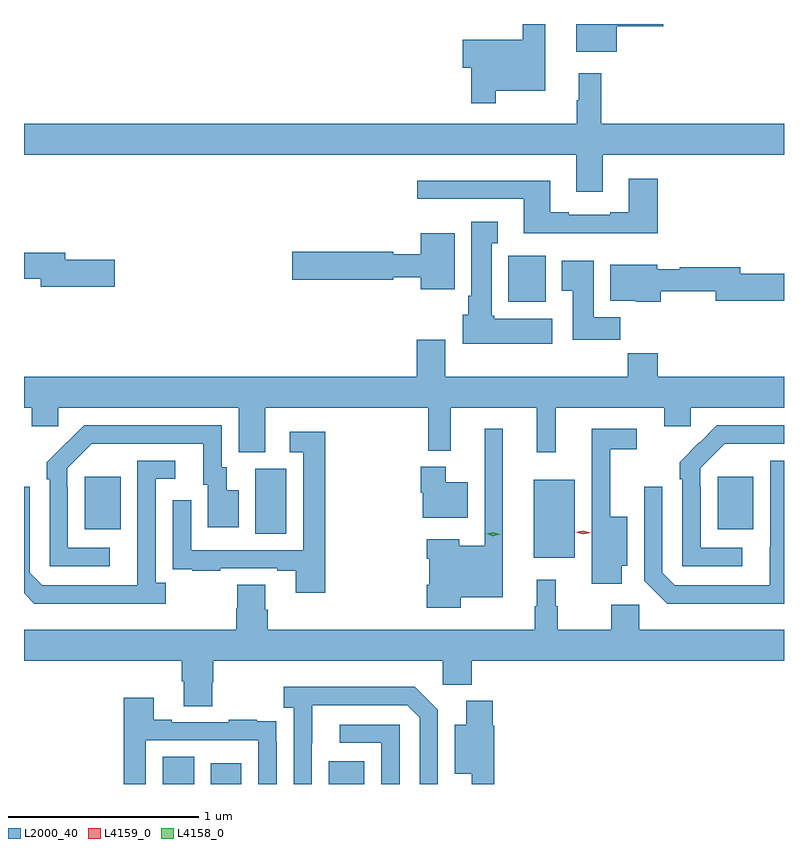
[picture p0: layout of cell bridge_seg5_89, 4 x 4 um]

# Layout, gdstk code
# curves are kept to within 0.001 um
import gdstk
lib = gdstk.Library(unit=1e-6, precision=1e-09)
def R(c, l, rs):  # rectangles x0, y0, x1, y1
    for r in rs: c.add(gdstk.rectangle(r[:2], r[2:], *l))
def P(c, l, *ps):  # polygons
    for p in ps: c.add(gdstk.Polygon(p, *l))
L2000_40 = (2000, 40)
L4158_0 = (4158, 0)
L4159_0 = (4159, 0)

bridge_seg5_89 = lib.new_cell('bridge_seg5_89')
R(bridge_seg5_89, L2000_40, [(316.28,849.452,316.444,849.596), (316.532,849.452,316.693,849.562), (317.153,849.452,317.341,849.571), (318.233,850.643,318.448,851.053), (316.766,850.768,316.93,851.112), (315.869,850.793,316.057,851.068), (319.199,850.793,319.387,851.068), (318.098,851.99,318.295,852.232)])
P(bridge_seg5_89, L2000_40, [(318.031,853.1),(318.292,853.1),(318.292,853.452),(318.175,853.452),(318.175,853.369),(317.858,853.369),(317.858,853.222),(317.902,853.222),(317.902,853.035),(318.031,853.035)],
  [(318.67,853.439),(318.913,853.439),(318.913,853.452),(318.455,853.452),(318.455,853.307),(318.67,853.307)],
  [(318.595,852.764),(319.549,852.764),(319.549,852.928),(318.587,852.928),(318.587,853.192),(318.47,853.192),(318.47,853.052),(318.459,853.052),(318.459,852.928),(315.549,852.928),(315.549,852.764),(318.455,852.764),(318.455,852.57),(318.595,852.57)],
  [(318.884,852.637),(318.731,852.637),(318.731,852.46),(318.635,852.46),(318.635,852.447),(318.415,852.447),(318.415,852.46),(318.319,852.46),(318.319,852.628),(317.619,852.628),(317.619,852.531),(318.179,852.531),(318.179,852.35),(318.884,852.35)],
  [(318.328,851.902),(318.024,851.902),(318.024,851.916),(318.01,851.916),(318.01,852.299),(318.043,852.299),(318.043,852.412),(317.903,852.412),(317.903,852.022),(317.888,852.022),(317.888,851.922),(317.858,851.922),(317.858,851.768),(318.328,851.768)],
  [(317.815,852.352),(317.636,852.352),(317.636,852.241),(317.493,852.241),(317.493,852.254),(316.962,852.254),(316.962,852.107),(317.493,852.107),(317.493,852.12),(317.636,852.12),(317.636,852.056),(317.815,852.056)],
  [(316.027,852.212),(315.766,852.212),(315.766,852.248),(315.549,852.248),(315.549,852.112),(315.638,852.112),(315.638,852.07),(316.027,852.07)],
  [(318.686,851.908),(318.547,851.908),(318.547,852.205),(318.38,852.205),(318.38,852.049),(318.437,852.049),(318.437,851.79),(318.686,851.79)],
  [(318.9,852.045),(319.19,852.045),(319.19,851.995),(319.549,851.995),(319.549,852.137),(319.318,852.137),(319.318,852.173),(319,852.173),(319,852.162),(318.882,852.162),(318.882,852.184),(318.635,852.184),(318.635,851.996),(318.768,851.996),(318.768,851.99),(318.9,851.99)],
  [(316.819,851.432),(317.677,851.432),(317.677,851.207),(317.795,851.207),(317.795,851.432),(318.248,851.432),(318.248,851.199),(318.347,851.199),(318.347,851.432),(318.92,851.432),(318.92,851.334),(319.059,851.334),(319.059,851.432),(319.549,851.432),(319.549,851.596),(318.884,851.596),(318.884,851.72),(318.727,851.72),(318.727,851.596),(317.767,851.596),(317.767,851.791),(317.615,851.791),(317.615,851.596),(315.549,851.596),(315.549,851.432),(315.59,851.432),(315.59,851.334),(315.729,851.334),(315.729,851.432),(316.679,851.432),(316.679,851.197),(316.819,851.197)],
  [(319.33,850.695),(319.11,850.695),(319.11,851.015),(319.107,851.015),(319.107,851.115),(319.236,851.244),(319.549,851.244),(319.549,851.34),(319.196,851.34),(318.999,851.145),(318.999,851.057),(319.014,851.057),(319.014,850.599),(319.33,850.599)],
  [(316,850.695),(315.78,850.695),(315.78,851.015),(315.777,851.015),(315.777,851.115),(315.906,851.244),(316.493,851.244),(316.493,851.028),(316.517,851.028),(316.517,850.803),(316.678,850.803),(316.678,850.999),(316.615,850.999),(316.615,851.118),(316.59,851.118),(316.59,851.34),(315.866,851.34),(315.669,851.145),(315.669,851.057),(315.684,851.057),(315.684,850.599),(316,850.599)],
  [(317.847,850.436),(318.07,850.436),(318.07,851.323),(317.973,851.323),(317.973,850.705),(317.839,850.705),(317.839,850.741),(317.669,850.741),(317.669,850.637),(317.681,850.637),(317.681,850.501),(317.669,850.501),(317.669,850.379),(317.847,850.379)],
  [(318.694,850.601),(318.724,850.601),(318.724,850.858),(318.635,850.858),(318.635,851.214),(318.775,851.214),(318.775,851.322),(318.537,851.322),(318.537,850.754),(318.536,850.754),(318.536,850.506),(318.694,850.506)],
  [(317.135,851.305),(316.947,851.305),(316.947,851.199),(317.019,851.199),(317.019,850.683),(316.428,850.683),(316.428,850.945),(316.332,850.945),(316.332,850.69),(316.333,850.69),(316.333,850.581),(316.435,850.581),(316.435,850.575),(316.583,850.575),(316.583,850.587),(316.883,850.587),(316.883,850.575),(316.979,850.575),(316.979,850.458),(317.135,850.458)],
  [(316.294,850.51),(316.242,850.51),(316.242,851.058),(316.345,851.058),(316.345,851.154),(316.146,851.154),(316.145,850.497),(315.645,850.497),(315.579,850.563),(315.579,851.017),(315.549,851.017),(315.549,850.455),(315.604,850.4),(316.294,850.4)],
  [(319.549,851.154),(319.476,851.154),(319.476,850.697),(319.475,850.697),(319.475,850.497),(318.975,850.497),(318.909,850.563),(318.909,851.017),(318.813,851.017),(318.813,850.521),(318.934,850.4),(319.549,850.4)],
  [(317.884,851.041),(317.77,851.041),(317.77,851.122),(317.636,851.122),(317.636,850.986),(317.648,850.986),(317.648,850.853),(317.884,850.853)],
  [(316.539,849.987),(316.544,849.987),(316.544,850.1),(317.754,850.1),(317.754,849.974),(317.906,849.974),(317.906,850.1),(319.549,850.1),(319.549,850.264),(318.786,850.264),(318.786,850.396),(318.64,850.396),(318.64,850.264),(318.358,850.264),(318.358,850.388),(318.347,850.388),(318.347,850.528),(318.248,850.528),(318.248,850.388),(318.237,850.388),(318.237,850.264),(316.832,850.264),(316.832,850.37),(316.819,850.37),(316.819,850.502),(316.672,850.502),(316.672,850.377),(316.667,850.377),(316.667,850.264),(315.549,850.264),(315.549,850.1),(316.379,850.1),(316.379,849.994),(316.391,849.994),(316.391,849.862),(316.539,849.862)],
  [(317.064,849.667),(317.065,849.867),(317.565,849.867),(317.631,849.801),(317.631,849.452),(317.727,849.452),(317.727,849.843),(317.606,849.964),(316.917,849.964),(316.917,849.854),(316.968,849.854),(316.968,849.452),(317.064,849.452)],
  [(316.191,849.681),(316.782,849.681),(316.782,849.452),(316.878,849.452),(316.878,849.674),(316.877,849.674),(316.877,849.783),(316.775,849.783),(316.775,849.79),(316.627,849.79),(316.627,849.777),(316.327,849.777),(316.327,849.79),(316.231,849.79),(316.231,849.907),(316.075,849.907),(316.075,849.452),(316.191,849.452)],
  [(318.023,849.759),(318.017,849.759),(318.017,849.889),(317.876,849.889),(317.876,849.763),(317.816,849.763),(317.816,849.506),(317.906,849.506),(317.906,849.452),(318.023,849.452)],
  [(317.526,849.765),(317.211,849.765),(317.211,849.669),(317.43,849.669),(317.43,849.452),(317.526,849.452)])
P(bridge_seg5_89, L4158_0, [(318.019,850.757),(317.984,850.769),(317.983,850.769),(317.984,850.769),(318.019,850.777),(318.054,850.766),(318.055,850.766),(318.054,850.766)])
P(bridge_seg5_89, L4159_0, [(318.493,850.766),(318.453,850.777),(318.453,850.777),(318.453,850.777),(318.493,850.786),(318.533,850.775),(318.533,850.775),(318.533,850.774)])

lib.write_gds('bridge_seg5_89.gds')
